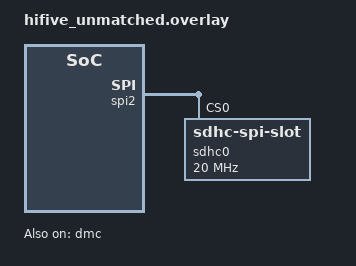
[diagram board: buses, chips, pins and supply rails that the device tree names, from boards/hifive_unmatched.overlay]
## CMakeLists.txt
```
# Copyright (c) 2023 Antmicro <www.antmicro.com>
# SPDX-License-Identifier: Apache-2.0

cmake_minimum_required(VERSION 3.20.0)

include_directories(include)

find_package(Zephyr REQUIRED HINTS $ENV{ZEPHYR_BASE})
project(zephyr-hifive-unmatched-fsbl)

FILE(GLOB c_sources src/*.c)
target_sources(app PRIVATE ${c_sources})
```

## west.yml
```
manifest:
  remotes:
    - name: zephyrproject-rtos
      url-base: https://github.com/zephyrproject-rtos

  projects:
    - name: zephyr
      remote: zephyrproject-rtos
      revision: main
      import: true

# NOTE: After ext2 implementation is merged into Zephyr
#       the Zephyr repository with main branch may be used here
```

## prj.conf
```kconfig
CONFIG_MP_NUM_CPUS=5
CONFIG_MP_MAX_NUM_CPUS=5
CONFIG_RISCV_GP=n

CONFIG_LOG=y
CONFIG_LOG_MODE_IMMEDIATE=y

CONFIG_FILE_SYSTEM=y
CONFIG_FILE_SYSTEM_EXT2=y

CONFIG_SPI=y
CONFIG_MEMC=y

CONFIG_DISK_ACCESS=y
CONFIG_DISK_DRIVER_SDMMC=y

CONFIG_EXT2_DISK_STARTING_SECTOR=2082
```

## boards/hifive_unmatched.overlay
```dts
/*
 * Copyright (c) 2023 Antmicro <www.antmicro.com>
 *
 * SPDX-License-Identifier: Apache-2.0
 */

/ {
	chosen {
		zephyr,sram = &l2lim;
	};
};

&dmc {
	status = "okay";
};

&spi2 {
        status = "okay";

        sdhc0: sdhc@0 {
                compatible = "zephyr,sdhc-spi-slot";
                reg = <0>;
                status = "okay";
                mmc {
                    compatible = "zephyr,sdmmc-disk";
                    status = "okay";
                };
                spi-max-frequency = <20000000>;
        };
};
```

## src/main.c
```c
/*
 * Copyright (c) 2023 Antmicro <www.antmicro.com>
 *
 * SPDX-License-Identifier: Apache-2.0
 */

#include <zephyr/kernel.h>
#include <zephyr/sys/arch_interface.h>
#include <zephyr/fs/fs.h>
#include <zephyr/logging/log.h>

#include "sbi_dynamic_info.h"

LOG_MODULE_REGISTER(ZephyrFSBL, LOG_LEVEL_INF);

#define CPU_STACK_SIZE 1024

K_THREAD_STACK_DEFINE(cpu1_stack, CPU_STACK_SIZE);
K_THREAD_STACK_DEFINE(cpu2_stack, CPU_STACK_SIZE);
K_THREAD_STACK_DEFINE(cpu3_stack, CPU_STACK_SIZE);
K_THREAD_STACK_DEFINE(cpu4_stack, CPU_STACK_SIZE);

struct z_thread_stack_element (*stack[])[1024] = {
	&cpu1_stack,
	&cpu2_stack,
	&cpu3_stack,
	&cpu4_stack,
};

int load_file(const char *path, void *offset)
{
	struct fs_file_t file;
	struct fs_dirent de;
	int ret = 0;
	ssize_t read;

	fs_file_t_init(&file);

	ret = fs_stat(path, &de);
	if (ret < 0) {
		LOG_ERR("Stat '%s' failed: %d", path, ret);
	}

	LOG_INF("'%s' loading %ld bytes at %p", path, de.size, offset);

	ret = fs_open(&file, path, FS_O_READ);
	if (ret < 0) {
		LOG_ERR("Open '%s' failed: %d", path, ret);
		return ret;
	}

	read = fs_read(&file, offset, de.size);
	if (read < 0) {
		ret = read;
	}

	if (read < de.size) {
		LOG_ERR("Couldn't load whole file (only %ld bytes)", read);
		ret = -1;
	}

	fs_close(&file);
	return ret;
}

#define SBI_FILE   "opensbi.bin"
#define IMAGE_FILE "Image"
#define FDT_FILE   "hifive-unmatched-a00.dtb"

#define SBI_ADDR   0x80000000
#define IMAGE_ADDR 0x80200000
#define FDT_ADDR   0x88000000

int load_binaries(void)
{
	int ret;
	static struct fs_mount_t mp = {
		.type = FS_EXT2,
		.flags = 0,
		.storage_dev = "SDMMC",
		.mnt_point = "/ext",
	};

	ret = fs_mount(&mp);
	if (ret < 0) {
		LOG_ERR("Mount failed: %d", ret);
		return ret;
	}

	ret = load_file("/ext/"SBI_FILE, (void *)SBI_ADDR);
	if (ret < 0) {
		LOG_ERR("Failed to load '%s': %d", SBI_FILE, ret);
		return ret;
	}

	ret = load_file("/ext/"IMAGE_FILE, (void *)IMAGE_ADDR);
	if (ret < 0) {
		LOG_ERR("Failed to load '%s': %d", IMAGE_FILE, ret);
		return ret;
	}

	ret = load_file("/ext/"FDT_FILE, (void *)FDT_ADDR);
	if (ret < 0) {
		LOG_ERR("Failed to load '%s': %d", FDT_FILE, ret);
		return ret;
	}

	ret = fs_unmount(&mp);
	if (ret < 0) {
		LOG_ERR("Unmount failed: %d", ret);
		return ret;
	}

	return 0;
}

struct fw_dynamic_info *sbi_dynamic_info;

typedef void (*boot_fun_t)(unsigned long, unsigned long, unsigned long);

FUNC_NORETURN void boot_fn(void *arg)
{
	boot_fun_t boot_f = (boot_fun_t)SBI_ADDR;

	arch_irq_lock();
	boot_f((unsigned long)arg, (unsigned long)FDT_ADDR, (unsigned long)sbi_dynamic_info);

	LOG_ERR("Boot failed for thread %ld", (uintptr_t)arg);
	__builtin_unreachable();
}

int main(void)
{
	LOG_PRINTK("Zephyr fsbl-app\n");

	if (load_binaries() < 0) {
		LOG_ERR("Failed to load binaries");
		return 0;
	}

	/* Init dynamic info structure */
	sbi_dynamic_info = (void *)ROUND_DOWN(IMAGE_ADDR - sizeof(struct fw_dynamic_info) * 2, 8);
	*sbi_dynamic_info = (struct fw_dynamic_info){
		.magic = FW_DYNAMIC_INFO_MAGIC_VALUE,
		.version = FW_DYNAMIC_INFO_VERSION_2,
		.next_addr = IMAGE_ADDR,
		.next_mode = FW_DYNAMIC_INFO_NEXT_MODE_S,
		.options = 0,
		.boot_hart = FW_DYNAMIC_INFO_BOOT_HART_DEFAULT,
	};

	/* Jump to OpenSBI */
	for (long i = 1; i < CONFIG_MP_NUM_CPUS; ++i) {
		arch_start_cpu(i, *stack[i-1], CPU_STACK_SIZE, boot_fn, (void *)i);
	}
	boot_fn(0);
}
```

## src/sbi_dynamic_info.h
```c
/*
 * Copyright (c) 2023 Antmicro <www.antmicro.com>
 *
 * SPDX-License-Identifier: Apache-2.0
 */

#ifndef __SBI_DYNAMIC_INFO_H__
#define __SBI_DYNAMIC_INFO_H__

/*
 * Compatible with def in 'include/sbi/fw_dynamic.h ' in OpenSBI v1.2:
 * https://github.com/riscv-software-src/opensbi/blob/v1.2/include/sbi/fw_dynamic.h
 */

#define FW_DYNAMIC_INFO_MAGIC_VALUE		0x4942534f
#define FW_DYNAMIC_INFO_VERSION_2		0x2

/* Possible next mode values */
#define FW_DYNAMIC_INFO_NEXT_MODE_U		0x0
#define FW_DYNAMIC_INFO_NEXT_MODE_S		0x1
#define FW_DYNAMIC_INFO_NEXT_MODE_M		0x3

#define FW_DYNAMIC_INFO_BOOT_HART_DEFAULT	-1

/* Representation dynamic info expected by OpenSBI */
struct fw_dynamic_info {
	unsigned long magic;
	unsigned long version;
	unsigned long next_addr;
	unsigned long next_mode;
	unsigned long options;
	unsigned long boot_hart;
} __packed;

/*
 * Compatible with def in 'include/sbi/sbi_scratch.h ' in OpenSBI v1.2:
 * https://github.com/riscv-software-src/opensbi/blob/v1.2/include/sbi/sbi_scratch.h
 */
enum sbi_dynamic_info_options {
	/** Disable prints during boot */
	SBI_SCRATCH_NO_BOOT_PRINTS = (1 << 0),
	/** Enable runtime debug prints */
	SBI_SCRATCH_DEBUG_PRINTS = (1 << 1),
};

#endif /* __SBI_DYNAMIC_INFO_H__ */
```
